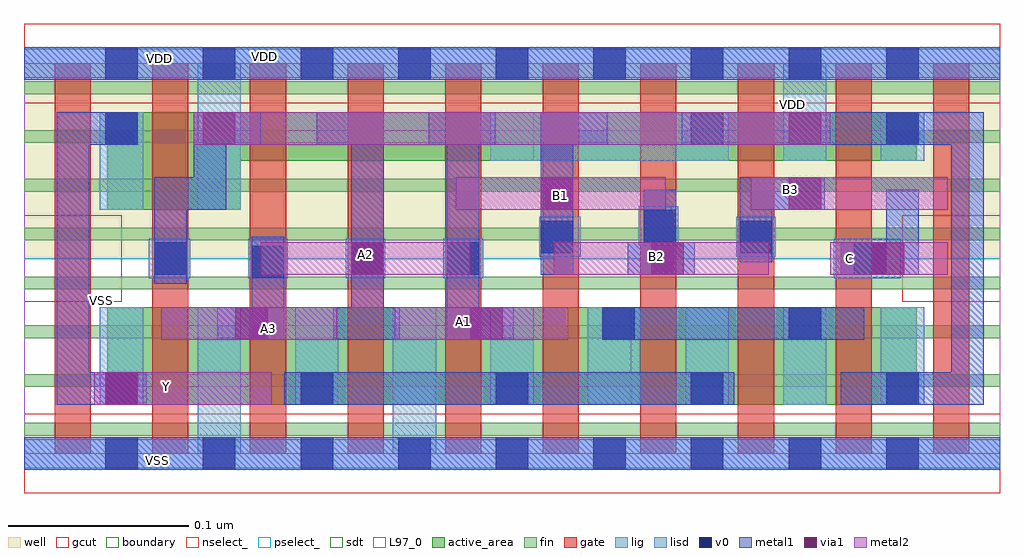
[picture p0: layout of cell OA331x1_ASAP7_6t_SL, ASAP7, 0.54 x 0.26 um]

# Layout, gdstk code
import gdstk
lib = gdstk.Library(unit=1e-6, precision=2.5e-10)
def R(c, l, rs):  # rectangles x0, y0, x1, y1
    for r in rs: c.add(gdstk.rectangle(r[:2], r[2:], *l))
def A(c, l, x, y, w, h, nx, ny, dx, dy):  # array of equal rectangles
    R(c, l, [(x+i*dx, y+j*dy, x+i*dx+w, y+j*dy+h) for i in range(nx) for j in range(ny)])
def P(c, l, *ps):  # polygons
    for p in ps: c.add(gdstk.Polygon(p, *l))
well = (1, 0)
fin = (2, 0)
gate = (7, 0)
gcut = (10, 0)
active_area = (11, 0)
nselect_ = (12, 0)
pselect_ = (13, 0)
lig = (16, 0)
lisd = (17, 0)
v0 = (18, 0)
metal1 = (19, 0)
metal2 = (20, 0)
via1 = (21, 0)
sdt = (88, 0)
L97_0 = (97, 0)
boundary = (100, 0)

oa331x1_asap7_6t_sl = lib.new_cell('OA331x1_ASAP7_6t_SL')
R(oa331x1_asap7_6t_sl, well, [(0,0.108,0.54,0.216)])
A(oa331x1_asap7_6t_sl, fin, 0, 0.01, 0.54, 0.007, 1, 8, 0, 0.027)
A(oa331x1_asap7_6t_sl, gate, 0.017, 0, 0.02, 0.216, 10, 1, 0.054, 0)
R(oa331x1_asap7_6t_sl, gcut, [(0,-0.022,0.54,0.022), (0,0.084,0.054,0.132), (0.486,0.084,0.54,0.132), (0,0.194,0.54,0.238)])
R(oa331x1_asap7_6t_sl, active_area, [(0.046,0.027,0.494,0.081)])
P(oa331x1_asap7_6t_sl, active_area, [(0.494,0.162),(0.12,0.162),(0.12,0.135),(0.046,0.135),(0.046,0.189),(0.494,0.189)])
R(oa331x1_asap7_6t_sl, nselect_, [(0,0,0.54,0.108)])
R(oa331x1_asap7_6t_sl, pselect_, [(0,0.108,0.54,0.216)])
A(oa331x1_asap7_6t_sl, lig, 0.124, 0.097, 0.022, 0.022, 3, 1, 0.054, 0)
R(oa331x1_asap7_6t_sl, lig, [(0,-0.008,0.54,0.008), (0.069,0.097,0.092,0.119), (0.448,0.097,0.485,0.119), (0.285,0.109,0.308,0.131), (0.394,0.109,0.416,0.131), (0.34,0.115,0.362,0.137), (0,0.208,0.54,0.224)])
A(oa331x1_asap7_6t_sl, lisd, 0.042, 0.027, 0.024, 0.054, 4, 1, 0.108, 0)
R(oa331x1_asap7_6t_sl, lisd, [(0.096,0,0.12,0.081), (0.204,0,0.228,0.081), (0.312,0.027,0.341,0.081), (0.42,0.027,0.444,0.081), (0.474,0.027,0.498,0.081), (0.042,0.135,0.066,0.189), (0.096,0.135,0.12,0.216), (0.258,0.162,0.39,0.189), (0.42,0.162,0.444,0.216), (0.474,0.162,0.498,0.189)])
A(oa331x1_asap7_6t_sl, v0, 0.045, -0.009, 0.018, 0.018, 9, 2, 0.054, 0.216)
A(oa331x1_asap7_6t_sl, v0, 0.045, 0.027, 0.018, 0.018, 5, 1, 0.108, 0)
R(oa331x1_asap7_6t_sl, v0, [(0.32,0.063,0.338,0.081), (0.423,0.063,0.441,0.081), (0.126,0.097,0.144,0.115), (0.072,0.099,0.09,0.117), (0.181,0.099,0.199,0.117), (0.234,0.099,0.252,0.117), (0.459,0.099,0.477,0.117), (0.286,0.111,0.304,0.129), (0.396,0.111,0.414,0.129), (0.343,0.117,0.361,0.135), (0.045,0.171,0.063,0.189), (0.369,0.171,0.387,0.189), (0.477,0.171,0.495,0.189)])
R(oa331x1_asap7_6t_sl, metal1, [(0,-0.009,0.54,0.009), (0.144,0.027,0.393,0.045), (0.32,0.063,0.465,0.081), (0,0.207,0.54,0.225)])
P(oa331x1_asap7_6t_sl, metal1, [(0.495,0.099),(0.452,0.099),(0.452,0.117),(0.477,0.117),(0.477,0.146),(0.495,0.146)],
  [(0.068,0.027),(0.018,0.027),(0.018,0.189),(0.063,0.189),(0.063,0.171),(0.036,0.171),(0.036,0.045),(0.068,0.045)],
  [(0.208,0.063),(0.171,0.063),(0.171,0.081),(0.181,0.081),(0.181,0.171),(0.162,0.171),(0.162,0.189),(0.199,0.189),(0.199,0.081),(0.208,0.081)],
  [(0.144,0.063),(0.107,0.063),(0.107,0.081),(0.126,0.081),(0.126,0.12),(0.144,0.12)],
  [(0.271,0.063),(0.234,0.063),(0.234,0.171),(0.224,0.171),(0.224,0.189),(0.261,0.189),(0.261,0.171),(0.252,0.171),(0.252,0.081),(0.271,0.081)],
  [(0.323,0.171),(0.304,0.171),(0.304,0.099),(0.286,0.099),(0.286,0.189),(0.323,0.189)],
  [(0.371,0.099),(0.334,0.099),(0.334,0.117),(0.343,0.117),(0.343,0.146),(0.361,0.146),(0.361,0.117),(0.371,0.117)],
  [(0.443,0.135),(0.414,0.135),(0.414,0.106),(0.396,0.106),(0.396,0.153),(0.443,0.153)],
  [(0.531,0.027),(0.452,0.027),(0.452,0.045),(0.513,0.045),(0.513,0.171),(0.364,0.171),(0.364,0.189),(0.531,0.189)],
  [(0.131,0.171),(0.112,0.171),(0.112,0.135),(0.09,0.135),(0.09,0.094),(0.072,0.094),(0.072,0.153),(0.094,0.153),(0.094,0.189),(0.131,0.189)])
R(oa331x1_asap7_6t_sl, metal2, [(0.039,0.027,0.137,0.045), (0.076,0.063,0.173,0.081), (0.205,0.063,0.301,0.081), (0.131,0.099,0.247,0.117), (0.293,0.099,0.412,0.117), (0.446,0.099,0.511,0.117), (0.239,0.135,0.355,0.153), (0.402,0.135,0.511,0.153), (0.094,0.171,0.446,0.189)])
R(oa331x1_asap7_6t_sl, via1, [(0.045,0.027,0.063,0.045), (0.117,0.063,0.135,0.081), (0.247,0.063,0.265,0.081), (0.181,0.099,0.199,0.117), (0.347,0.099,0.365,0.117), (0.469,0.099,0.487,0.117), (0.286,0.135,0.304,0.153), (0.423,0.135,0.441,0.153), (0.099,0.171,0.117,0.189), (0.423,0.171,0.441,0.189)])
A(oa331x1_asap7_6t_sl, sdt, 0.042, 0.027, 0.024, 0.054, 9, 1, 0.054, 0)
R(oa331x1_asap7_6t_sl, sdt, [(0.042,0.135,0.066,0.189), (0.096,0.135,0.12,0.189), (0.258,0.162,0.282,0.189), (0.42,0.162,0.444,0.189), (0.474,0.162,0.498,0.189)])
R(oa331x1_asap7_6t_sl, L97_0, [(0,0,0.54,0.216)])
R(oa331x1_asap7_6t_sl, boundary, [(0,0,0.54,0.216)])
oa331x1_asap7_6t_sl.add(gdstk.Label('VDD', (0.425,0.193), layer=1, texttype=251))
oa331x1_asap7_6t_sl.add(gdstk.Label('A2', (0.189,0.11), layer=20, texttype=251))
oa331x1_asap7_6t_sl.add(gdstk.Label('Y', (0.079,0.037), layer=20, texttype=251))
oa331x1_asap7_6t_sl.add(gdstk.Label('A1', (0.243,0.073), layer=20, texttype=251))
oa331x1_asap7_6t_sl.add(gdstk.Label('B2', (0.35,0.109), layer=20, texttype=251))
oa331x1_asap7_6t_sl.add(gdstk.Label('C', (0.457,0.108), layer=20, texttype=251))
oa331x1_asap7_6t_sl.add(gdstk.Label('A3', (0.135,0.069), layer=20, texttype=251))
oa331x1_asap7_6t_sl.add(gdstk.Label('B1', (0.297,0.143), layer=20, texttype=251))
oa331x1_asap7_6t_sl.add(gdstk.Label('B3', (0.424,0.146), layer=20, texttype=251))
oa331x1_asap7_6t_sl.add(gdstk.Label('VSS', (0.074,-0.0035), layer=19, texttype=251))
oa331x1_asap7_6t_sl.add(gdstk.Label('VDD', (0.075,0.2185), layer=19, texttype=251))
oa331x1_asap7_6t_sl.add(gdstk.Label('VDD', (0.133,0.2195), layer=19, texttype=251))
oa331x1_asap7_6t_sl.add(gdstk.Label('VSS', (0.043,0.085), layer=3, texttype=251))

lib.write_gds('OA331x1_ASAP7_6t_SL.gds')
